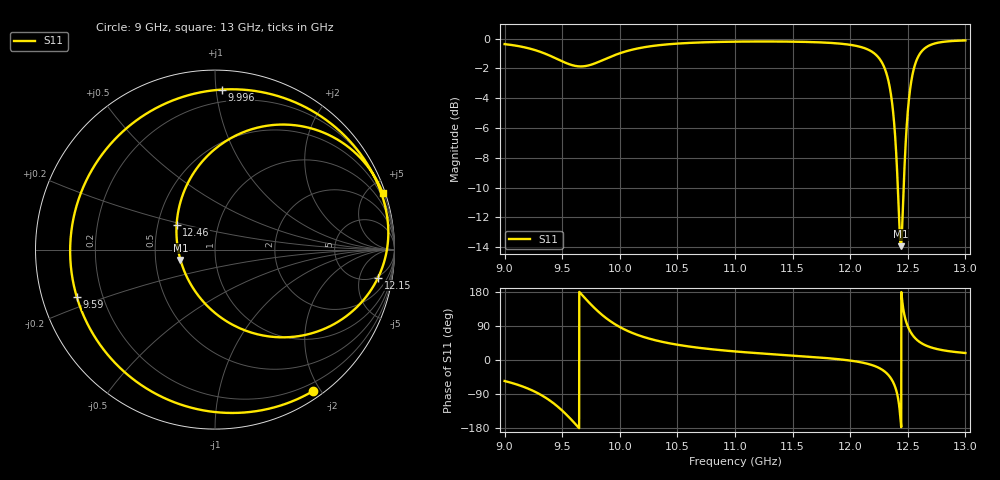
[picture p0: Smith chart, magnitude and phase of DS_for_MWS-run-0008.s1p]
! TOUCHSTONE file generated by CST DESIGN STUDIO
! Date and time: Tue Feb  4 16:13:20 2025
! Project name: C:\Work\MatlabApps\UnitCellOptimizationMatlab\CST\unitcell.cst
! Tree item: Tasks\Sweep1\SPara1\S-Parameters
! Header version: 2024
! Port assignment regex: !\s*Touchstone port\s*([0-9]+)\s*=\s*(CST MWS port|CST DES external port|CST DES block port)\s*(.+)\s* \(\"(.*)\"\)(\s*mode\s*([0-9]+))?.*
! Touchstone port assignment:
! Touchstone port 1 = CST DES external port 1 ("")
# GHz S MA R 50
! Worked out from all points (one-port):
!   4001 points, 9 GHz to 13 GHz, reference 50 ohm
!   lowest |S11| = -13.9 dB at 12.44 GHz (marker M1), VSWR 1.50, Z = 33.7 - j4.04 ohm
!   |S11| at or under -10 dB: 12.41358 GHz to 12.46411 GHz (50.53 MHz wide, 0.406 % of centre)
!   S11 on the Smith chart (normalised r, x): 9 GHz: 0.10, -1.90; 9.59 GHz: 0.11, -0.17; 9.996 GHz: 0.12, +1.03; 12.15 GHz: 5, -10; 12.46 GHz: 0.63, +0.18; 13 GHz: 0.27, +6.13
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9  0.9588 -55.4
9.161  0.9374 -70.4
9.313  0.9023 -91.6
9.412  0.8703 -111.2
9.5  0.8393 -133.5
9.59  0.8141 -161.0
9.69  0.808 165.7
9.805  0.8323 130.0
9.894  0.8612 107.6
9.996  0.8922 87.7
10  0.8933 87.0
10.22  0.9372 59.5
10.5  0.9627 40.3
11  0.9772 22.6
11.5  0.9771 11.7
12  0.9536 -1.5
12.147  0.922 -9.7
12.28  0.8255 -26.1
12.364  0.6072 -53.6
12.402  0.3944 -82.5
12.439  0.201 -163.4
12.455  0.2544 147.2
12.5  0.5698 88.9
12.532  0.7262 70.0
12.574  0.8423 54.6
12.656  0.9337 38.5
12.783  0.9726 27.0
13  0.9863 18.5
